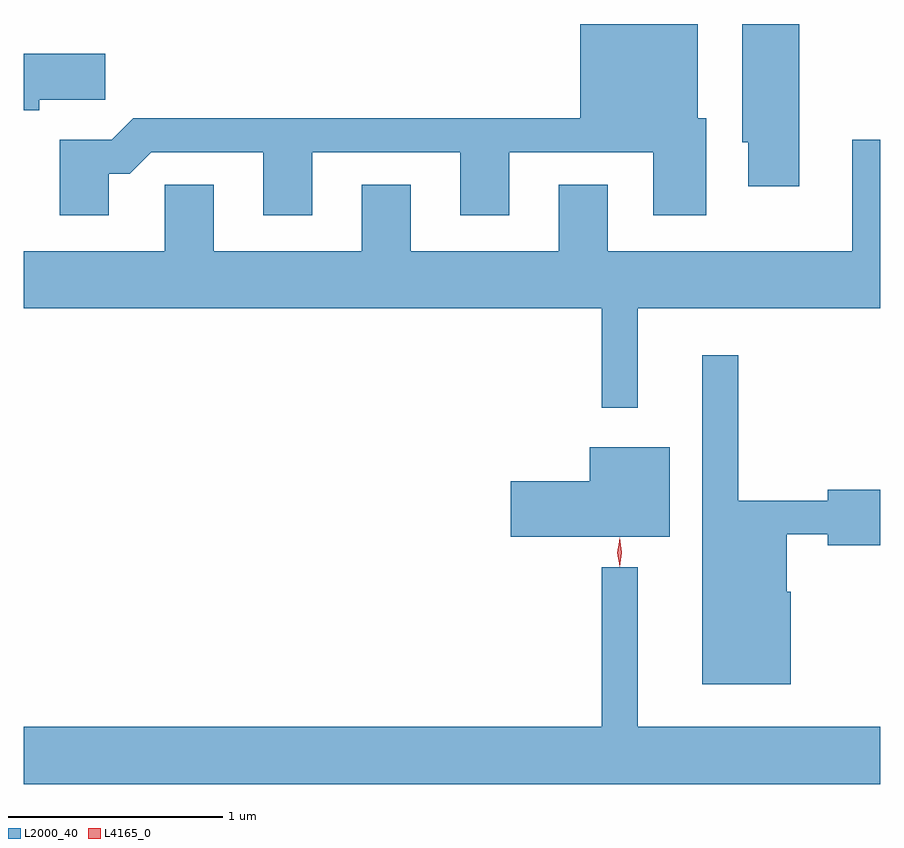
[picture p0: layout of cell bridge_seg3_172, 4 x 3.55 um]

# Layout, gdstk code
import gdstk
lib = gdstk.Library(unit=1e-6, precision=1e-09)
def P(c, l, *ps):  # polygons
    for p in ps: c.add(gdstk.Polygon(p, *l))
L2000_40 = (2000, 40)
L4165_0 = (4165, 0)

bridge_seg3_172 = lib.new_cell('bridge_seg3_172')
P(bridge_seg3_172, L2000_40, [(876.459,1139.966),(876.557,1139.966),(876.657,1140.066),(877.181,1140.066),(877.181,1139.771),(877.409,1139.771),(877.409,1140.066),(878.101,1140.066),(878.101,1139.771),(878.329,1139.771),(878.329,1140.066),(879.001,1140.066),(879.001,1139.771),(879.249,1139.771),(879.249,1140.224),(879.209,1140.224),(879.209,1140.664),(878.661,1140.664),(878.661,1140.224),(876.574,1140.224),(876.474,1140.124),(876.231,1140.124),(876.231,1139.771),(876.459,1139.771)],
  [(879.684,1140.664),(879.416,1140.664),(879.416,1140.111),(879.446,1140.111),(879.446,1139.906),(879.684,1139.906)],
  [(876.134,1140.311),(876.444,1140.311),(876.444,1140.524),(876.062,1140.524),(876.062,1140.261),(876.134,1140.261)],
  [(878.929,1139.336),(880.062,1139.336),(880.062,1140.124),(879.931,1140.124),(879.931,1139.604),(878.789,1139.604),(878.789,1139.914),(878.561,1139.914),(878.561,1139.604),(877.869,1139.604),(877.869,1139.914),(877.641,1139.914),(877.641,1139.604),(876.949,1139.604),(876.949,1139.914),(876.721,1139.914),(876.721,1139.604),(876.062,1139.604),(876.062,1139.336),(878.761,1139.336),(878.761,1138.873),(878.929,1138.873)],
  [(879.644,1138.014),(879.624,1138.014),(879.624,1138.281),(879.816,1138.281),(879.816,1138.231),(880.062,1138.231),(880.062,1138.489),(879.816,1138.489),(879.816,1138.439),(879.399,1138.439),(879.399,1139.118),(879.231,1139.118),(879.231,1137.581),(879.644,1137.581)],
  [(879.079,1138.689),(878.706,1138.689),(878.706,1138.529),(878.336,1138.529),(878.336,1138.271),(879.079,1138.271)],
  [(880.062,1137.384),(878.929,1137.384),(878.929,1138.128),(878.761,1138.128),(878.761,1137.384),(876.062,1137.384),(876.062,1137.116),(880.062,1137.116)])
P(bridge_seg3_172, L4165_0, [(878.844,1138.13),(878.835,1138.198),(878.844,1138.266),(878.844,1138.266),(878.845,1138.266),(878.855,1138.198),(878.845,1138.13),(878.845,1138.13)],
  [(878.844,1138.133),(878.834,1138.196),(878.844,1138.26),(878.844,1138.26),(878.845,1138.26),(878.854,1138.196),(878.845,1138.133),(878.845,1138.133)])

lib.write_gds('bridge_seg3_172.gds')
